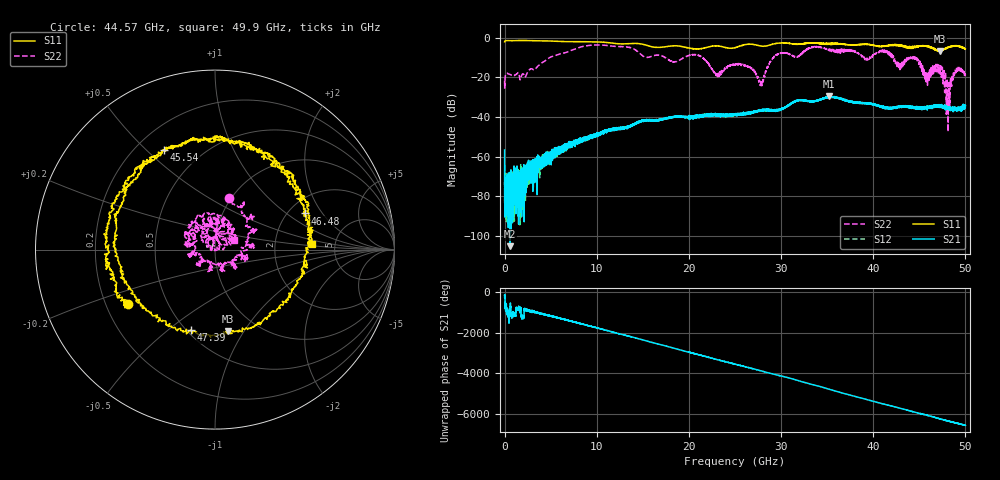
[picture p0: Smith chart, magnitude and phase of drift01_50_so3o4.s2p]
!Created with skrf (http://scikit-rf.org).
# Hz S RI R 50.0
!freq ReS11 ImS11 ReS21 ImS21 ReS12 ImS12 ReS22 ImS22
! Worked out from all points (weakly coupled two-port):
!   10001 points, 300 kHz to 50 GHz, reference 50 ohm
!   highest |S21| = -29.62 dB at 35.23 GHz (marker M1); lowest = -105.2 dB at 560.3 MHz (marker M2)
!   lowest |S11| = -6.8 dB at 47.21 GHz (marker M3), VSWR 2.70, Z = 37.1 - j42.6 ohm
!   |S11| at or under -10 dB: nowhere
!   |S22| runs from -47.3 to -3.6 dB; largest |S21 - S12| = 0.004
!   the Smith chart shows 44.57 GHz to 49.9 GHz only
!   S11 on the Smith chart (normalised r, x): 44.57 GHz: 0.29, -0.26; 45.54 GHz: 0.31, +0.57; 46.48 GHz: 2.45, +1.40; 47.39 GHz: 0.52, -0.60; 49.9 GHz: 3.32, +0.27
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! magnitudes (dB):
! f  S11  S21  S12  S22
! 300 kHz  -2.1  -56.6  -64.3  -21.7
! 255.3 MHz  -1.4  -80.7  -80.6  -18.0
! 560.3 MHz  -1.5  -105.2  -78.9  -18.6
! 8.335 GHz  -1.9  -51.8  -51.1  -4.6
! 16.67 GHz  -4.9  -41.7  -41.3  -8.7
! 20.95 GHz  -5.6  -39.6  -39.6  -8.7
! 23.07 GHz  -4.1  -39.1  -38.6  -18.3
! 25 GHz  -5.0  -38.7  -38.8  -13.7
! 27.83 GHz  -4.2  -36.3  -36.5  -22.3
! 29.48 GHz  -2.8  -36.7  -36.4  -8.8
! 33.34 GHz  -2.6  -32.1  -32.0  -4.7
! 35.23 GHz  -2.9  -29.6  -29.7  -5.9
! 41.67 GHz  -3.9  -35.2  -35.6  -7.3
! 44.57 GHz  -4.9  -35.8  -35.3  -10.5
! 45.54 GHz  -4.1  -34.9  -35.5  -17.1
! 46.48 GHz  -5.3  -34.6  -34.7  -15.0
! 47.21 GHz  -6.8  -34.4  -34.8  -17.0
! 47.39 GHz  -6.6  -34.0  -34.3  -18.5
! 48.13 GHz  -4.8  -35.5  -35.3  -38.5
! 48.96 GHz  -4.2  -35.6  -35.8  -17.7
! 49.9 GHz  -5.4  -34.9  -35.5  -18.6
! 50 GHz  -5.6  -34.0  -35.2  -18.6
